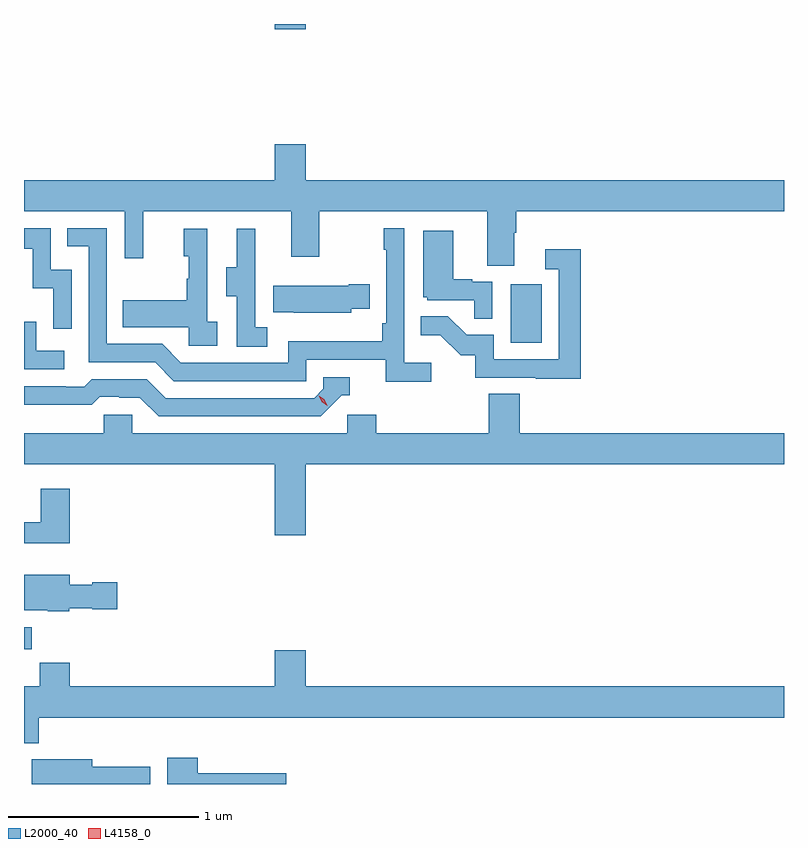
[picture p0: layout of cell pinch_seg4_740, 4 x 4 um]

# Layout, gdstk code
import gdstk
lib = gdstk.Library(unit=1e-6, precision=1e-09)
def R(c, l, rs):  # rectangles x0, y0, x1, y1
    for r in rs: c.add(gdstk.rectangle(r[:2], r[2:], *l))
def P(c, l, *ps):  # polygons
    for p in ps: c.add(gdstk.Polygon(p, *l))
L2000_40 = (2000, 40)
L4158_0 = (4158, 0)

pinch_seg4_740 = lib.new_cell('pinch_seg4_740')
R(pinch_seg4_740, L2000_40, [(870.98,817.158,871.022,817.276), (873.542,818.772,873.706,819.079), (872.3,820.422,872.464,820.45)])
P(pinch_seg4_740, L2000_40, [(873.559,819.352),(873.572,819.352),(873.572,819.464),(874.98,819.464),(874.98,819.628),(872.464,819.628),(872.464,819.817),(872.3,819.817),(872.3,819.628),(870.98,819.628),(870.98,819.464),(871.509,819.464),(871.509,819.216),(871.607,819.216),(871.607,819.464),(872.387,819.464),(872.387,819.225),(872.535,819.225),(872.535,819.464),(873.419,819.464),(873.419,819.178),(873.559,819.178)],
  [(873.124,818.668),(872.982,818.668),(872.982,819.376),(872.874,819.376),(872.874,819.263),(872.886,819.263),(872.886,818.875),(872.866,818.875),(872.866,818.779),(872.37,818.779),(872.37,818.667),(871.806,818.667),(871.707,818.766),(871.416,818.766),(871.416,819.375),(871.207,819.375),(871.207,819.279),(871.32,819.279),(871.32,818.67),(871.67,818.67),(871.769,818.571),(872.466,818.571),(872.466,818.682),(872.885,818.682),(872.885,818.566),(873.124,818.566)],
  [(871.23,819.156),(871.122,819.156),(871.122,819.375),(870.98,819.375),(870.98,819.267),(871.025,819.267),(871.025,819.059),(871.134,819.059),(871.134,818.847),(871.23,818.847)],
  [(872.26,818.855),(872.196,818.855),(872.196,819.159),(872.198,819.159),(872.198,819.373),(872.099,819.373),(872.099,819.171),(872.045,819.171),(872.045,819.016),(872.1,819.016),(872.1,818.752),(872.26,818.752)],
  [(871.996,818.882),(871.944,818.882),(871.944,819.373),(871.82,819.373),(871.82,819.228),(871.846,819.228),(871.846,819.11),(871.836,819.11),(871.836,818.995),(871.501,818.995),(871.501,818.855),(871.848,818.855),(871.848,818.757),(871.996,818.757)],
  [(873.444,819.093),(873.338,819.093),(873.338,819.106),(873.238,819.106),(873.238,819.361),(873.08,819.361),(873.08,819.012),(873.102,819.012),(873.102,818.997),(873.349,818.997),(873.349,818.899),(873.444,818.899)],
  [(873.911,819.265),(873.723,819.265),(873.723,819.159),(873.795,819.159),(873.795,818.685),(873.453,818.685),(873.453,818.814),(873.309,818.814),(873.211,818.912),(873.067,818.912),(873.067,818.813),(873.171,818.813),(873.278,818.706),(873.355,818.706),(873.355,818.589),(873.673,818.589),(873.673,818.584),(873.911,818.584)],
  [(872.703,818.951),(872.801,818.951),(872.801,819.081),(872.69,819.081),(872.69,819.073),(872.293,819.073),(872.293,818.933),(872.401,818.933),(872.401,818.93),(872.703,818.93)],
  [(871.192,818.73),(871.044,818.73),(871.044,818.884),(870.98,818.884),(870.98,818.634),(871.192,818.634)],
  [(872.652,818.496),(872.695,818.496),(872.695,818.592),(872.556,818.592),(872.556,818.529),(872.508,818.481),(871.725,818.481),(871.626,818.58),(871.337,818.58),(871.298,818.541),(871.199,818.541),(871.199,818.544),(870.98,818.544),(870.98,818.447),(871.104,818.447),(871.104,818.445),(871.337,818.445),(871.379,818.487),(871.482,818.487),(871.482,818.484),(871.589,818.484),(871.688,818.385),(872.541,818.385)],
  [(872.464,818.132),(874.98,818.132),(874.98,818.296),(873.59,818.296),(873.59,818.504),(873.425,818.504),(873.425,818.296),(872.834,818.296),(872.834,818.394),(872.682,818.394),(872.682,818.296),(871.551,818.296),(871.551,818.394),(871.401,818.394),(871.401,818.296),(870.98,818.296),(870.98,818.132),(872.3,818.132),(872.3,817.758),(872.464,817.758)],
  [(871.22,818.005),(871.067,818.005),(871.067,817.828),(870.98,817.828),(870.98,817.718),(871.22,817.718)],
  [(871.218,817.376),(871.338,817.376),(871.338,817.369),(871.471,817.369),(871.471,817.511),(871.338,817.511),(871.338,817.498),(871.222,817.498),(871.222,817.552),(870.98,817.552),(870.98,817.364),(871.104,817.364),(871.104,817.358),(871.218,817.358)],
  [(871.058,816.8),(874.98,816.8),(874.98,816.964),(872.464,816.964),(872.464,817.153),(872.3,817.153),(872.3,816.964),(871.22,816.964),(871.22,817.088),(871.063,817.088),(871.063,816.964),(870.98,816.964),(870.98,816.665),(871.058,816.665)],
  [(872.359,816.507),(871.894,816.507),(871.894,816.589),(871.733,816.589),(871.733,816.45),(872.359,816.45)],
  [(871.644,816.542),(871.339,816.542),(871.339,816.58),(871.021,816.58),(871.021,816.45),(871.644,816.45)])
P(pinch_seg4_740, L4158_0, [(872.576,818.441),(872.546,818.461),(872.531,818.494),(872.531,818.494),(872.531,818.494),(872.561,818.474),(872.577,818.441),(872.577,818.441)])

lib.write_gds('pinch_seg4_740.gds')
